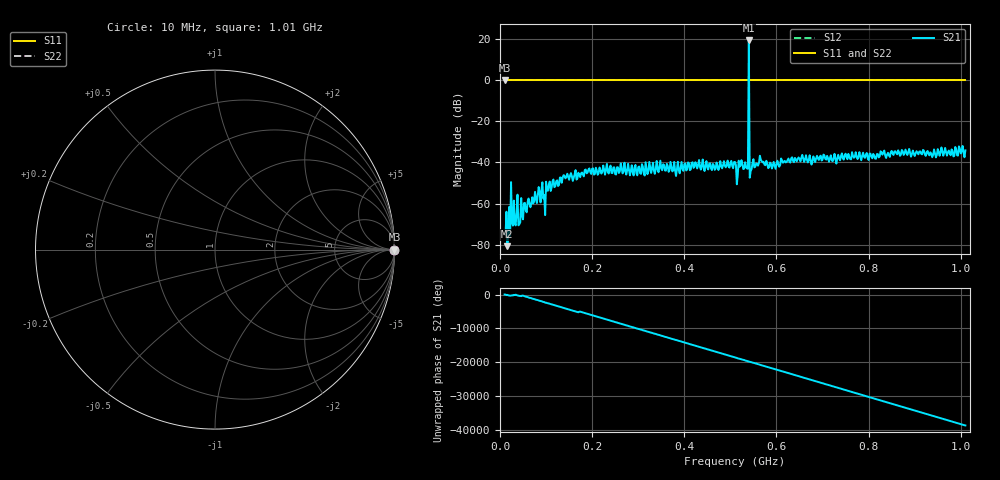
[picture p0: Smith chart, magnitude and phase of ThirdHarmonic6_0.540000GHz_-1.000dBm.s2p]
! 8/15/2025 4:57:49 PM
! C:\ANRITSUVNA\TEMP\TEMP.S2P
! CHANNEL.1
! TR.MEASUREMENT
! RAW.DATA
! RF.CORRECTION.OFF
! AVERAGING.OFF
! IF.BANDWIDTH: 5KHZ
! SWEEPTYPE:  FREQ.SWEEP(Linear)
! Reference Plane Port Info
! PORT:  PORT1  PORT2
! DISTANCE:  0  m  0  m
! TIME:  0  s  0  s
! PHASE.OFFSET:  0  deg.  0  deg.
! LOSS:  0  dB  0  dB
! REF.LOSS:  0  dB  0  dB
! REF.FREQ:  0  Hz  0  Hz
! Power Info
! POWER:  -20  dBm  -20  dBm
! EFF.POWER:  -20  dBm  -20  dBm
! SOURCE.ATTEN:  0  dB  0  dB
! TEST.ATTEN:  0  dB  0  dB
# GHZ S RI R 50.0
! FREQ.GHZ  S11RE  S11IM  S21RE  S21IM  S12RE  S12IM  S22RE  S22IM
!; PortSelection: Port_12
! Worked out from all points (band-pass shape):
!   501 points, 10 MHz to 1.01 GHz, reference 50 ohm
!   highest |S21| = 19.09 dB at 540 MHz (marker M1); lowest = -80.6 dB at 16 MHz (marker M2)
!   |S21| within 3 dB of the highest: 539.9034 MHz to 540.0902 MHz (186.8 kHz wide, 0.0346 % of centre)
!   lowest |S11| = 0.0 dB at 10 MHz (marker M3)
!   |S11| at or under -10 dB: nowhere
!   |S22| runs from 0.0 to 0.0 dB; largest |S21 - S12| = 8.8
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0.01  1 0  0.000184 -1.59e-05  1 0  1 0
0.016  1 0  -5.1e-06 -9.33e-05  1 0  1 0
0.028  1 0  9.6e-06 0.000294  1 0  1 0
0.03  1 0  -0.000192 -0.00117  1 0  1 0
0.034  1 0  0.000199 -0.00022  1 0  1 0
0.044  1 0  0.000231 -0.000272  1 0  1 0
0.088  1 0  -0.000416 -0.00099  1 0  1 0
0.098  1 0  -0.000298 0.000436  1 0  1 0
0.104  1 0  0.00158 -0.00132  1 0  1 0
0.178  1 0  -0.00549 -0.00151  1 0  1 0
0.344  1 0  0.00578 0.000117  1 0  1 0
0.51  1 0  -0.0102 0.000831  1 0  1 0
0.534  1 0  0.00217 -0.00754  1 0  1 0
0.536  1 0  -0.0052 -0.00487  1 0  1 0
0.54  1 0  2.295 8.71  1 0  1 0
0.544  1 0  0.000404 -0.00611  1 0  1 0
0.546  1 0  -0.00662 -0.00174  1 0  1 0
0.568  1 0  0.0103 0.00274  1 0  1 0
0.594  1 0  0.0047 0.00914  1 0  1 0
0.678  1 0  0.00548 -0.00904  1 0  1 0
0.844  1 0  -0.00174 0.0148  1 0  1 0
1.01  1 0  0.00619 -0.0185  1 0  1 0
